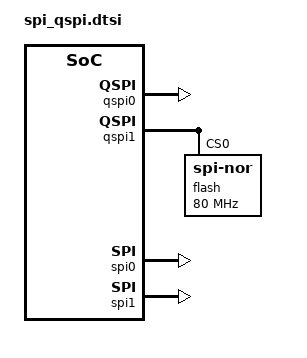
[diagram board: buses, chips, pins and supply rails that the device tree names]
/* microElk */
/ {
    ahb { /* Advanced high-speed bus */
        apb { /* Advanced peripheral bus */
            /************/
            /*** QSPI ***/
            /************/
            qspi0: spi@f0020000 {
                compatible      = "atmel,sama5d2-qspi";
                clocks          = <&qspi0_clk>;
                #address-cells  = <1>;
                #size-cells     = <0>;
            }; /* qspi0 */
            qspi1: spi@f0024000 {
                #address-cells  = <1>;
                #size-cells     = <0>;
                pinctrl-names   = "default";
                pinctrl-0       = <&pinctrl_qspi1_default>;
                compatible      = "atmel,sama5d2-qspi";
                clocks          = <&qspi1_clk>;
                flash@0 {
                    #address-cells      = <1>;
                    #size-cells         = <1>;
                    compatible          = "jedec,spi-nor";
                    reg                 = <0>;
                    spi-max-frequency   = <80000000>;
                    m25p,fast-read;
                        at91bootstrap@00000000 {
                            label   = "bootstrap";
                            reg     = <0x00000000 0x00010000>;
                        }; /* at91bootstrap@00000000 */
                        bootloader@00010000 {
                            label   = "bootloader";
                            reg     = <0x00010000 0x000a0000>;
                        }; /* bootloader@00010000 */
                        bootloaderenv@000b0000 {
                            label   = "env";
                            reg     = <0x000b0000 0x00010000>;
                        }; /* bootloaderenv@000b0000 */
//                      dtb@000c0000 {
//                          label   = "device tree";
//                          reg     = <0x000c0000 0x0020000>;
//                      }; /* dtb@000c0000 */
//                      kernel@000e0000 {
//                          label   = "kernel";
//                          reg     = <0x000e0000 0x0400000>;
//                      }; /* kernel@000e0000 */
                }; /* flash@0 */
            }; /* qspi1 */
            /***********/
            /*** SPI ***/
            /***********/
            spi0: spi@f8000000 {
                #address-cells      = <1>;
                #size-cells         = <0>;
                pinctrl-names       = "default";
                pinctrl-0           = <&pinctrl_spi0_default>;
                compatible          = "atmel,at91rm9200-spi";
                clocks              = <&spi0_clk>;
                clock-names         = "spi_clk";
                atmel,fifo-size     = <16>;
            }; /* spi0 */
            spi1: spi@fc000000 {
                #address-cells      = <1>;
                #size-cells         = <0>;
                compatible          = "atmel,at91rm9200-spi";
                clocks              = <&spi1_clk>;
                clock-names         = "spi_clk";
                atmel,fifo-size     = <16>;
            }; /* spi1 */
            /**************/
            /*** PINCTL ***/
            /**************/
            pinctrl@fc038000 {
                /************/
                /*** QSPI ***/
                /************/
                pinctrl_qspi1_default: qspi1_default {
                    sck_cs  {
                            pinmux =    <PIN_PB5__QSPI1_SCK>,
                                        <PIN_PB6__QSPI1_CS>;
                            bias-disable;
                            };
                    data    {
                            pinmux =    <PIN_PB7__QSPI1_IO0>,
                                        <PIN_PB8__QSPI1_IO1>,
                                        <PIN_PB9__QSPI1_IO2>,
                                        <PIN_PB10__QSPI1_IO3>;
                            bias-pull-up;
                            };
                }; /* pinctrl_qspi1_default */
                /***********/
                /*** SPI ***/
                /***********/
                pinctrl_spi0_default: spi0_default {
                    pinmux =        <PIN_PA14__SPI0_SPCK>,
                                    <PIN_PA15__SPI0_MOSI>,
                                    <PIN_PA16__SPI0_MISO>,
                                    <PIN_PA17__SPI0_NPCS0>;
                    bias-disable;
                }; /* pinctrl_spi0_default */
            }; /* pinctrl@fc038000 */
        }; /* apb */
    }; /* ahb */
}; /* / */

